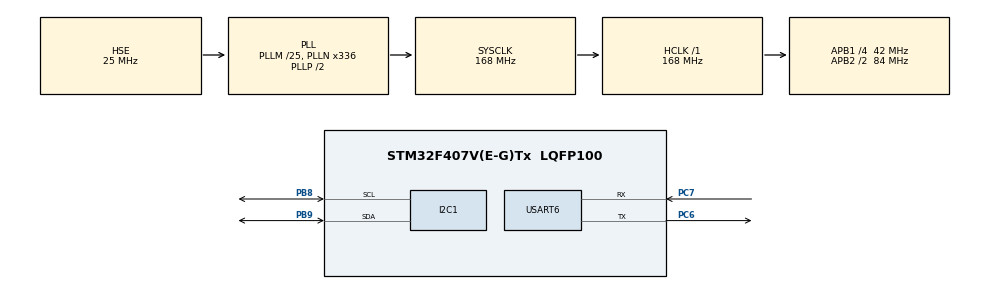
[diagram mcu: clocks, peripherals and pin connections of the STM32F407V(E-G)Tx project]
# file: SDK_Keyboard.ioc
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Mcu.Family=STM32F4
Mcu.Name=STM32F407V(E-G)Tx
Mcu.Package=LQFP100
NVIC.PriorityGroup=NVIC_PRIORITYGROUP_4
PA13.Mode=JTAG_4_pins
PA13.Signal=SYS_JTMS-SWDIO
PA14.Mode=JTAG_4_pins
PA14.Signal=SYS_JTCK-SWCLK
PA15.Mode=JTAG_4_pins
PA15.Signal=SYS_JTDI
PB3.Mode=JTAG_4_pins
PB3.Signal=SYS_JTDO-SWO
PB8.GPIO_Pu=GPIO_PULLUP
PB8.Mode=I2C
PB8.Signal=I2C1_SCL
PB9.GPIO_Pu=GPIO_PULLUP
PB9.Mode=I2C
PB9.Signal=I2C1_SDA
PC6.Mode=Asynchronous
PC6.Signal=USART6_TX
PC7.Mode=Asynchronous
PC7.Signal=USART6_RX
PH0-OSC_IN.Mode=HSE-External-Oscillator
PH0-OSC_IN.Signal=RCC_OSC_IN
PH1-OSC_OUT.Mode=HSE-External-Oscillator
PH1-OSC_OUT.Signal=RCC_OSC_OUT
ProjectManager.HeapSize=0x200
ProjectManager.StackSize=0x400
ProjectManager.TargetToolchain=STM32CubeIDE
RCC.48MHZClocksFreq_Value=84000000
RCC.AHBFreq_Value=168000000
RCC.APB1CLKDivider=RCC_HCLK_DIV4
RCC.APB1Freq_Value=42000000
RCC.APB1TimFreq_Value=84000000
RCC.APB2CLKDivider=RCC_HCLK_DIV2
RCC.APB2Freq_Value=84000000
RCC.APB2TimFreq_Value=168000000
RCC.CortexFreq_Value=168000000
RCC.HCLKFreq_Value=168000000
RCC.HSE_VALUE=25000000
RCC.HSI_VALUE=16000000
RCC.LSE_VALUE=32768
RCC.PLLM=25
RCC.PLLN=336
RCC.PLLSourceVirtual=RCC_PLLSOURCE_HSE
RCC.SYSCLKFreq_VALUE=168000000
RCC.SYSCLKSource=RCC_SYSCLKSOURCE_PLLCLK
RCC.VCOOutputFreq_Value=336000000
USART6.VirtualMode=VM_ASYNC
board=custom

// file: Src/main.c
#include "main.h"
#include "i2c.h"
#include "usart.h"
#include "gpio.h"

/* USER CODE BEGIN Includes */
#include "kb.h"
#include "sdk_uart.h"
#include "pca9538.h"
#include "oled.h"
#include "fonts.h"
#include "calc.h"
/* USER CODE END Includes */

/* USER CODE BEGIN PD */
#define LONG_PRESS_MS  800
/* USER CODE END PD */

void SystemClock_Config(void);

int main(void)
{
  HAL_Init();
  SystemClock_Config();

  MX_GPIO_Init();
  MX_I2C1_Init();
  MX_USART6_UART_Init();
  /* USER CODE BEGIN 2 */
  oled_Init();
  Set_Keyboard();          /* настройка PCA9538 клавиатуры - один раз */
  calc_Init();
  calc_Draw();

  uint32_t eqStart  = 0;
  uint8_t  clearDone = 1;
  /* USER CODE END 2 */

  while (1)
  {
    /* USER CODE BEGIN 3 */
    uint8_t k = KB_GetEvent();
    if( k != KEY_NONE ) {
        /* отладка: индекс нажатой кнопки в терминал (для проверки раскладки) */
        char msg[] = "Key 00\n";
        msg[4] = (char)('0' + k / 10);
        msg[5] = (char)('0' + k % 10);
        UART_Transmit((uint8_t*)msg);

        calc_OnKey(k);
        calc_Draw();

        if( calc_IsEquals(k) ) {
            eqStart = HAL_GetTick();
            clearDone = 0;
        }
    }

    /* долгое нажатие "=" -> сброс */
    uint8_t held = KB_GetHeld();
    if( !clearDone ) {
        if( held == KEY_NONE || !calc_IsEquals(held) ) {
            clearDone = 1;                     /* кнопку отпустили раньше */
        } else if( HAL_GetTick() - eqStart >= LONG_PRESS_MS ) {
            calc_Clear();
            calc_Draw();
            clearDone = 1;
        }
    }

    HAL_Delay(10);
    /* USER CODE END 3 */
  }
}

void SystemClock_Config(void)
{
  RCC_OscInitTypeDef RCC_OscInitStruct = {0};
  RCC_ClkInitTypeDef RCC_ClkInitStruct = {0};

  __HAL_RCC_PWR_CLK_ENABLE();
  __HAL_PWR_VOLTAGESCALING_CONFIG(PWR_REGULATOR_VOLTAGE_SCALE1);
  RCC_OscInitStruct.OscillatorType = RCC_OSCILLATORTYPE_HSE;
  RCC_OscInitStruct.HSEState = RCC_HSE_ON;
  RCC_OscInitStruct.PLL.PLLState = RCC_PLL_ON;
  RCC_OscInitStruct.PLL.PLLSource = RCC_PLLSOURCE_HSE;
  RCC_OscInitStruct.PLL.PLLM = 25;
  RCC_OscInitStruct.PLL.PLLN = 336;
  RCC_OscInitStruct.PLL.PLLP = RCC_PLLP_DIV2;
  RCC_OscInitStruct.PLL.PLLQ = 4;
  if (HAL_RCC_OscConfig(&RCC_OscInitStruct) != HAL_OK)
  {
    Error_Handler();
  }
  RCC_ClkInitStruct.ClockType = RCC_CLOCKTYPE_HCLK|RCC_CLOCKTYPE_SYSCLK
                              |RCC_CLOCKTYPE_PCLK1|RCC_CLOCKTYPE_PCLK2;
  RCC_ClkInitStruct.SYSCLKSource = RCC_SYSCLKSOURCE_PLLCLK;
  RCC_ClkInitStruct.AHBCLKDivider = RCC_SYSCLK_DIV1;
  RCC_ClkInitStruct.APB1CLKDivider = RCC_HCLK_DIV4;
  RCC_ClkInitStruct.APB2CLKDivider = RCC_HCLK_DIV2;

  if (HAL_RCC_ClockConfig(&RCC_ClkInitStruct, FLASH_LATENCY_5) != HAL_OK)
  {
    Error_Handler();
  }
}

void Error_Handler(void)
{
}
